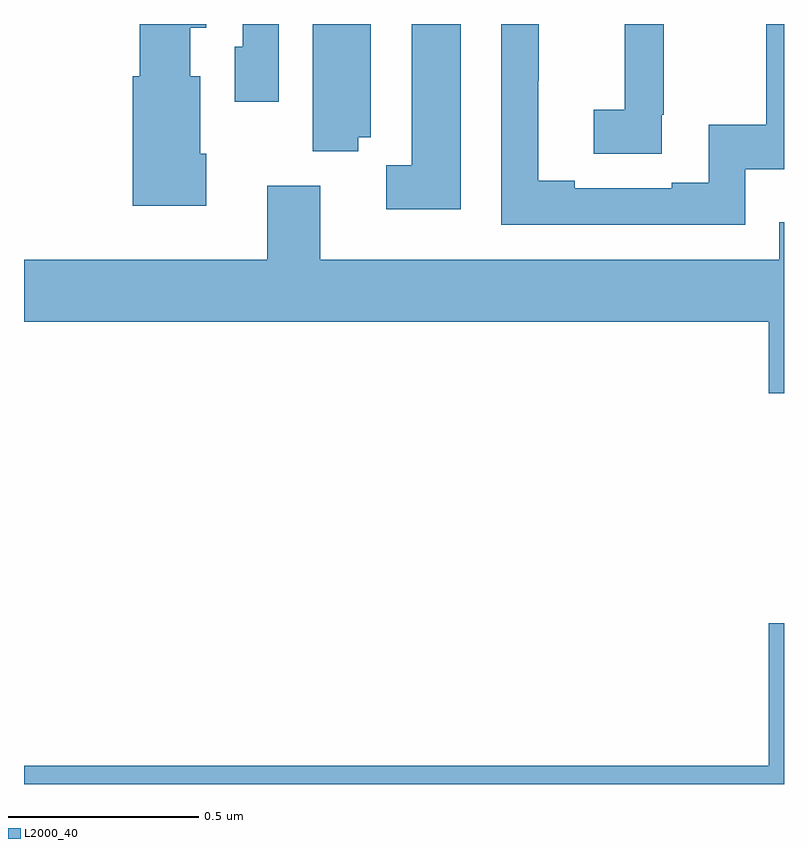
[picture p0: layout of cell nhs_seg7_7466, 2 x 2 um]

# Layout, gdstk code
import gdstk
lib = gdstk.Library(unit=1e-6, precision=1e-09)
def P(c, l, *ps):  # polygons
    for p in ps: c.add(gdstk.Polygon(p, *l))
L2000_40 = (2000, 40)

nhs_seg7_7466 = lib.new_cell('nhs_seg7_7466')
P(nhs_seg7_7466, L2000_40, [(212.149,1068),(212.021,1068),(212.021,1067.628),(211.953,1067.628),(211.953,1067.513),(212.149,1067.513)],
  [(212.898,1067.618),(213,1067.618),(213,1068),(212.953,1068),(212.953,1067.735),(212.802,1067.735),(212.802,1067.582),(212.705,1067.582),(212.705,1067.568),(212.449,1067.568),(212.449,1067.588),(212.353,1067.588),(212.353,1067.851),(212.355,1067.851),(212.355,1068),(212.256,1068),(212.256,1067.472),(212.898,1067.472)],
  [(211.671,1068),(211.575,1068),(211.575,1067.94),(211.554,1067.94),(211.554,1067.796),(211.671,1067.796)],
  [(212.678,1067.761),(212.684,1067.761),(212.684,1068),(212.581,1068),(212.581,1067.774),(212.499,1067.774),(212.499,1067.659),(212.678,1067.659)],
  [(211.48,1067.658),(211.464,1067.658),(211.464,1067.862),(211.438,1067.862),(211.438,1067.99),(211.48,1067.99),(211.48,1068),(211.304,1068),(211.304,1067.862),(211.286,1067.862),(211.286,1067.522),(211.48,1067.522)],
  [(211.88,1067.702),(211.912,1067.702),(211.912,1068),(211.76,1068),(211.76,1067.665),(211.88,1067.665)],
  [(213,1067.478),(212.987,1067.478),(212.987,1067.38),(211.78,1067.38),(211.78,1067.575),(211.64,1067.575),(211.64,1067.38),(211,1067.38),(211,1067.216),(212.96,1067.216),(212.96,1067.028),(213,1067.028)],
  [(213,1066.423),(212.96,1066.423),(212.96,1066.048),(211,1066.048),(211,1066),(213,1066)])

lib.write_gds('nhs_seg7_7466.gds')
